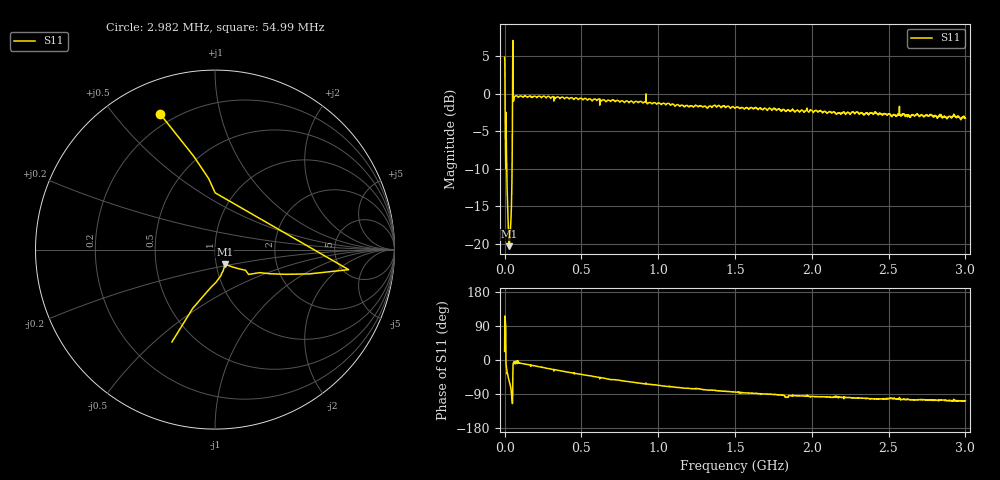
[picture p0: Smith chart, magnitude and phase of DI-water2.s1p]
# HZ S RI R 50
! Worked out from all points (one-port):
!   2020 points, 10 kHz to 3 GHz, reference 50 ohm
!   lowest |S11| = -20.3 dB at 29.73 MHz (marker M1), VSWR 1.21, Z = 54.9 - j8.88 ohm
!   |S11| at or under -10 dB: 13.89 MHz to 48.55 MHz (34.66 MHz wide, 111 % of centre)
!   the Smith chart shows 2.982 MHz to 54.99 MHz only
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10000  1.619 0.6785
7439395  0.000975 0.3162
1.635467e7  0.1871 -0.1383
1.784055e7  0.1706 -0.1153
2.229818e7  0.106 -0.0993
2.972758e7  0.0537 -0.0801
3.418522e7  0.0516 -0.0954
3.715698e7  0.0476 -0.111
3.864285e7  0.0446 -0.1201
4.012873e7  0.0375 -0.1316
5.795928e7  0.8839 -0.1321
6.39028e7  0.9533 -0.0905
6.836043e7  0.9497 -0.1764
6.984631e7  0.9642 -0.0774
7.133219e7  0.9647 -0.0734
8.47051e7  0.9489 -0.1501
3.759374e8  0.8276 -0.4691
6.032769e8  0.6418 -0.6456
7.503789e8  0.5234 -0.7068
9.049103e8  0.4028 -0.7796
1.126306e9  0.2564 -0.8075
1.500748e9  0.0794 -0.7969
1.794952e9  -0.0298 -0.7778
1.832099e9  -0.1109 -0.7552
1.875189e9  -0.0304 -0.7936
2.251117e9  -0.1212 -0.7262
2.625558e9  -0.1753 -0.7011
3e9  -0.2106 -0.654
